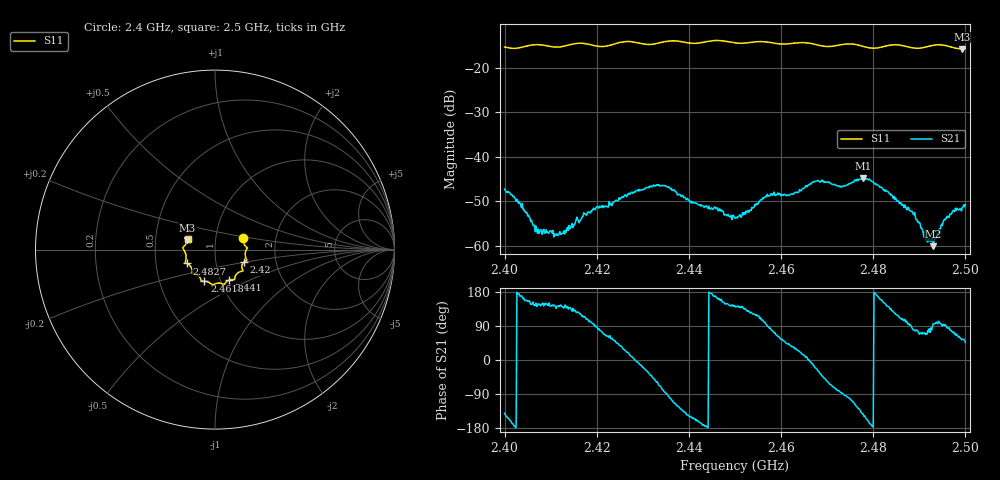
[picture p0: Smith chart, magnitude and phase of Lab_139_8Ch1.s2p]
# Hz S RI R 50
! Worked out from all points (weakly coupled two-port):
!   601 points, 2.4 GHz to 2.5 GHz, reference 50 ohm
!   highest |S21| = -44.80 dB at 2.4778 GHz (marker M1); lowest = -60.1 dB at 2.493 GHz (marker M2)
!   lowest |S11| = -15.8 dB at 2.4993 GHz (marker M3), VSWR 1.39, Z = 36.5 + j3.84 ohm
!   |S11| at or under -10 dB: start of sweep to end of sweep
!   S12 and S22 are empty: the file has one direction only
!   S11 on the Smith chart (normalised r, x): 2.4 GHz: 1.36, +0.18; 2.42 GHz: 1.36, -0.20; 2.441 GHz: 1.10, -0.39; 2.4618 GHz: 0.84, -0.30; 2.4827 GHz: 0.72, -0.12; 2.5 GHz: 0.73, +0.09
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2.4e9  0.1584 0.0627  -0.00334 -0.00274  0 0  0 0
2.403333e9  0.1655 0.0249  -0.00296 0.000617  0 0  0 0
2.407167e9  0.1808 0.00898  -0.00112 0.000795  0 0  0 0
2.411167e9  0.1687 -0.0183  -0.000946 0.000903  0 0  0 0
2.416667e9  0.1775 -0.0607  -0.000949 0.00174  0 0  0 0
2.42e9  0.1594 -0.0703  4.97e-05 0.00274  0 0  0 0
2.433333e9  0.1118 -0.151  0.00218 -0.00432  0 0  0 0
2.441e9  0.0784 -0.1698  -0.0027 -0.00138  0 0  0 0
2.45e9  0.0283 -0.1873  -0.00162 0.00123  0 0  0 0
2.4575e9  -0.0221 -0.1904  0.00042 0.00359  0 0  0 0
2.461833e9  -0.0593 -0.1756  0.00279 0.00237  0 0  0 0
2.466667e9  -0.0785 -0.1682  0.00502 -0.000714  0 0  0 0
2.473167e9  -0.1213 -0.1347  0.00026 -0.00458  0 0  0 0
2.477833e9  -0.1269 -0.1171  -0.00464 -0.00341  0 0  0 0
2.482667e9  -0.1561 -0.0774  -0.00358 0.00226  0 0  0 0
2.483333e9  -0.1604 -0.0753  -0.00306 0.00249  0 0  0 0
2.4885e9  -0.1608 -0.0433  0.000295 0.00239  0 0  0 0
2.491333e9  -0.1695 -0.00805  0.00045 0.00107  0 0  0 0
2.493e9  -0.178 0.00466  -8.98e-05 0.000983  0 0  0 0
2.495667e9  -0.1762 0.015  -9.63e-05 0.00202  0 0  0 0
2.499333e9  -0.1539 0.0512  0.00159 0.00219  0 0  0 0
2.5e9  -0.1521 0.0609  0.00201 0.00207  0 0  0 0
